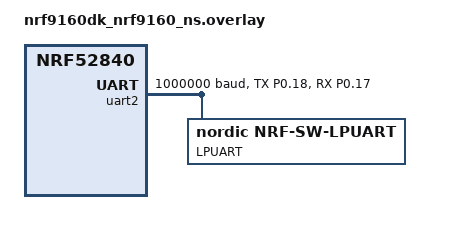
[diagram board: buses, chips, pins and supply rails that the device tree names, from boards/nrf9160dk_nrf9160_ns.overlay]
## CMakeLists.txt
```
#
# Copyright (c) 2019 Nordic Semiconductor
#
# SPDX-License-Identifier: LicenseRef-Nordic-5-Clause
#

cmake_minimum_required(VERSION 3.20.0)

find_package(Zephyr REQUIRED HINTS $ENV{ZEPHYR_BASE})
project(gateway)

# Include application application event headers
zephyr_library_include_directories(src/events)
zephyr_library_include_directories(src/cloud)

# NORDIC SDK APP START
target_sources(app PRIVATE src/main.c)

add_subdirectory(src/modules)
add_subdirectory(src/events)

# NORDIC SDK APP END
```

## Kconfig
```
#
# Copyright (c) 2021 Nordic Semiconductor ASA
#
# SPDX-License-Identifier: LicenseRef-Nordic-5-Clause
#

menu "Gateway"

config GATEWAY_APP_VERSION
	string "Asset Tracker application firmware version"
	default "0.0.0-development"

config GATEWAY_APP_VERSION_MAX_LEN
	int "Maximum length of the application firmware version"
	default 150

rsource "src/modules/Kconfig.modules_common"
rsource "src/modules/Kconfig.modem_module"
rsource "src/modules/Kconfig.cloud_module"
rsource "src/modules/Kconfig.robot_module"

endmenu

menu "Zephyr Kernel"
source "Kconfig.zephyr"
endmenu

# module = APPLICATION_MODULE
# module-str = Application module
# source "subsys/logging/Kconfig.template.log_config"
```

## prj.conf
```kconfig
#
# Copyright (c) 2019 Nordic Semiconductor ASA
#
# SPDX-License-Identifier: LicenseRef-Nordic-5-Clause
#


# Logger configuration
CONFIG_LOG=y
CONFIG_LOG_DEFAULT_LEVEL=4
# CONFIG_LOG_BACKEND_UART=y

CONFIG_USE_SEGGER_RTT=y
CONFIG_LOG_BACKEND_RTT=y
CONFIG_LOG_BACKEND_UART=n

# General config
CONFIG_NEWLIB_LIBC=y
CONFIG_NEWLIB_LIBC_FLOAT_PRINTF=y

# Modem library
CONFIG_NRF_MODEM_LIB=y

# Networking
CONFIG_NETWORKING=y
CONFIG_NET_NATIVE=n
CONFIG_NET_SOCKETS=y
CONFIG_NET_SOCKETS_OFFLOAD=y
CONFIG_NET_IPV6=y
CONFIG_NET_IPV4=y
# CONFIG_NET_SOCKETS_POSIX_NAMES=y

# LTE link control
CONFIG_LTE_AUTO_INIT_AND_CONNECT=n
CONFIG_LTE_NETWORK_MODE_LTE_M=y
CONFIG_LTE_LINK_CONTROL=y

# Configuration required by Application Event Manager
CONFIG_APP_EVENT_MANAGER=y
CONFIG_APP_EVENT_MANAGER_LOG_EVENT_TYPE=n
# CONFIG_HEAP_MEM_POOL_SIZE=2048
# CONFIG_REBOOT=y

# # MQTT
# CONFIG_MQTT_LIB=y
# CONFIG_MQTT_LIB_TLS=n
# CONFIG_MQTT_CLEAN_SESSION=y

# Memory
CONFIG_MAIN_STACK_SIZE=4096
CONFIG_HEAP_MEM_POOL_SIZE=2048



CONFIG_DEBUG_OPTIMIZATIONS=y
CONFIG_DEBUG_THREAD_INFO=y

# Button support
CONFIG_DK_LIBRARY=y

# # Settings - Used to store real-time device configuration to flash.
# CONFIG_SETTINGS=y
# CONFIG_SETTINGS_FCB=y
# CONFIG_FCB=y

# cJSON - Used in cloud data encoding.
CONFIG_CJSON_LIB=y

# AWS IOT
CONFIG_AWS_IOT=y

CONFIG_AWS_IOT_TOPIC_GET_ACCEPTED_SUBSCRIBE=y
CONFIG_AWS_IOT_TOPIC_GET_REJECTED_SUBSCRIBE=y
CONFIG_AWS_IOT_TOPIC_UPDATE_ACCEPTED_SUBSCRIBE=y
CONFIG_AWS_IOT_TOPIC_UPDATE_REJECTED_SUBSCRIBE=y
CONFIG_AWS_IOT_TOPIC_UPDATE_DELTA_SUBSCRIBE=y
CONFIG_AWS_IOT_TOPIC_DELETE_ACCEPTED_SUBSCRIBE=y
CONFIG_AWS_IOT_TOPIC_DELETE_REJECTED_SUBSCRIBE=y

CONFIG_AWS_IOT_AUTO_DEVICE_SHADOW_REQUEST=n
CONFIG_AWS_IOT_MQTT_RX_TX_BUFFER_LEN=2048
# CONFIG_AWS_IOT_APP_SUBSCRIPTION_LIST_COUNT=3
# CONFIG_AWS_IOT_CLIENT_ID_APP=y

# Options that must be configured in order to establish a connection.
CONFIG_AWS_IOT_SEC_TAG=42
CONFIG_AWS_IOT_BROKER_HOST_NAME="amp6pwoz1i14f-ats.iot.us-east-2.amazonaws.com"
CONFIG_AWS_IOT_CLIENT_ID_STATIC="robot_wars_gateway"
# CONFIG_AWS_IOT_TOPIC_UPDATE_DELTA_SUBSCRIBE=n

# MQTT Transport library
# Maximum specified MQTT keepalive timeout for AWS IoT is 1200 seconds.
CONFIG_MQTT_KEEPALIVE=1200

CONFIG_QOS=y
CONFIG_QOS_PENDING_MESSAGES_MAX=15
CONFIG_QOS_MESSAGE_NOTIFIED_COUNT_MAX=3
CONFIG_QOS_MESSAGE_NOTIFY_TIMEOUT_SECONDS=16

CONFIG_NRF_MODEM_LIB_TRACE_ENABLED=y
```

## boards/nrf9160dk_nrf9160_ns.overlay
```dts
#include <nrf9160dk_nrf52840_reset_on_if5.dtsi>

/ {
    chosen{
        zephyr,bt-uart = &lpuart;
    };
};

&gpiote {
	interrupts = <49 NRF_DEFAULT_IRQ_PRIORITY>;
};

&uart2 {
    status="okay";
    pinctrl-0 = <&app_uart2_default>;
    pinctrl-1 = <&app_uart2_sleep>;
    pinctrl-names = "default", "sleep";

    current-speed = < 1000000 >;

    /delete-property/ hw-flow-control;
    lpuart:nrf-sw-lpuart {
        compatible = "nordic,nrf-sw-lpuart";
        status="okay";
        label="LPUART";
        req-pin = < 21 >;
        rdy-pin = < 19 >;
    };
};


&i2c2 {
    status="disabled";
};


&spi3 {
    status="disabled";
};


&pinctrl {
    app_uart2_default: app_uart2_default{
        group1 {
			psels = <NRF_PSEL(UART_TX, 0, 18)>,
				<NRF_PSEL(UART_RX, 0, 17)>;
		};
    };

    app_uart2_sleep: app_uart2_sleep {
        group1 {
			psels = <NRF_PSEL(UART_TX, 0, 18)>,
				<NRF_PSEL(UART_RX, 0, 17)>;
			low-power-enable;
		};
    };
};
```

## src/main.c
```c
/*
 * Copyright (c) 2019 Nordic Semiconductor ASA
 *
 * SPDX-License-Identifier: LicenseRef-Nordic-5-Clause
 */

#include <app_event_manager.h>
#include <zephyr/logging/log.h>

#define MODULE application_module
#include "app_module_event.h"
#include "modules_common.h"

#include <zephyr/logging/log.h>
LOG_MODULE_REGISTER(MODULE);

void main(void)
{
	if (app_event_manager_init()) {
		LOG_ERR("Application Event Manager not initialized");
	} else {
		SEND_EVENT(app, APP_EVT_START);
	}
}
```

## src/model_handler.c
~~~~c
#include <zephyr/bluetooth/mesh.h>
#include "model_handler.h"

#include <bluetooth/mesh/models.h>

/* SIG models */

static struct bt_mesh_cfg_cli cfg_cli = {};

static void attention_on(struct bt_mesh_model *model)
{
    // TODO: implement
    printk("attention_on()\n");
}

static void attention_off(struct bt_mesh_model *model)
{
    // TODO: implement
    printk("attention_off()\n");
}

static const struct bt_mesh_health_srv_cb health_srv_cb = {
    .attn_on = attention_on,
    .attn_off = attention_off,
};

static struct bt_mesh_health_srv health_srv = {
    .cb = &health_srv_cb,
};

BT_MESH_HEALTH_PUB_DEFINE(health_pub, 0);

static struct bt_mesh_model sig_models[] = {
    BT_MESH_MODEL_CFG_SRV,
    BT_MESH_MODEL_CFG_CLI(&cfg_cli),
    BT_MESH_MODEL_HEALTH_SRV(&health_srv, &health_pub),
};


/* Vendor models */

/**
 * @brief Handle status message returned by a movement server after sending
 * a ```movement set``` command.
 *
 * @param model Model instance receiving the message
 * @param ctx Message context
 * @param buf Message buffer containing the payload, not including the opcode
 * @return 0 on success, negative ERRNO code otherwise
 */
static int movement_set_status_msg_handler(struct bt_mesh_model *model,
                                       struct bt_mesh_msg_ctx *ctx,
                                       struct net_buf_simple *buf)
{
    // TODO: implement. Should call a callback function that is registered by the user.
    printk("Movement set status message received\n");
    return 0;
}

/**
 * @brief Handle status message returned by a movement server after completing a movement.
 *
 * @param model Model instance receiving the message
 * @param ctx Message context
 * @param buf Message buffer containing the payload, not including the opcode
 * @return 0 on success, negative ERRNO code otherwise
 */
static int movement_done_status_msg_handler(struct bt_mesh_model *model,
                                       struct bt_mesh_msg_ctx *ctx,
                                       struct net_buf_simple *buf)
{
    // TODO: implement. Should call a callback function that is registered by the user.
    printk("Movement done status message received\n");
    return 0;
}

static const struct bt_mesh_model_op movement_client_ops[] = {
    {
        OP_VND_ROBOT_MOVEMENT_SET_STATUS,
        BT_MESH_LEN_EXACT(sizeof(struct robot_movement_set_status_msg)),
        movement_set_status_msg_handler,
    },
    {
        OP_VND_ROBOT_MOVEMENT_DONE_STATUS,
        BT_MESH_LEN_EXACT(sizeof(struct robot_movement_done_status_msg)),
        movement_done_status_msg_handler,
    },
    BT_MESH_MODEL_OP_END,
};

static struct bt_mesh_model vendor_models[] = {
    BT_MESH_MODEL_VND(CONFIG_BT_COMPANY_ID, ROBOT_MOVEMENT_CLI_MODEL_ID, movement_client_ops, NULL, NULL),
};

/* Composition */
static struct bt_mesh_elem elements[] = {
    BT_MESH_ELEM(0, sig_models, vendor_models),
};

static struct bt_mesh_comp comp = {
    .cid = CONFIG_BT_COMPANY_ID,
    .elem = elements,
    .elem_count = ARRAY_SIZE(elements),
};

const struct bt_mesh_comp *model_handler_init(void)
{

    return &comp;
}
~~~~

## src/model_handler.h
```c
#pragma once
#include "../mesh_model_defines/robot_movement_cli.h" 
#include "../mesh_model_defines/robot_movement_srv.h"

typedef void (* robot_movement_ctm_status_handler_t)(struct robot_movement_done_status_msg *msg);
typedef void (* robot_movement_ctm_status_handler_t)(struct robot_movement_done_status_msg *msg);

const struct bt_mesh_comp *model_handler_init(void);
```
